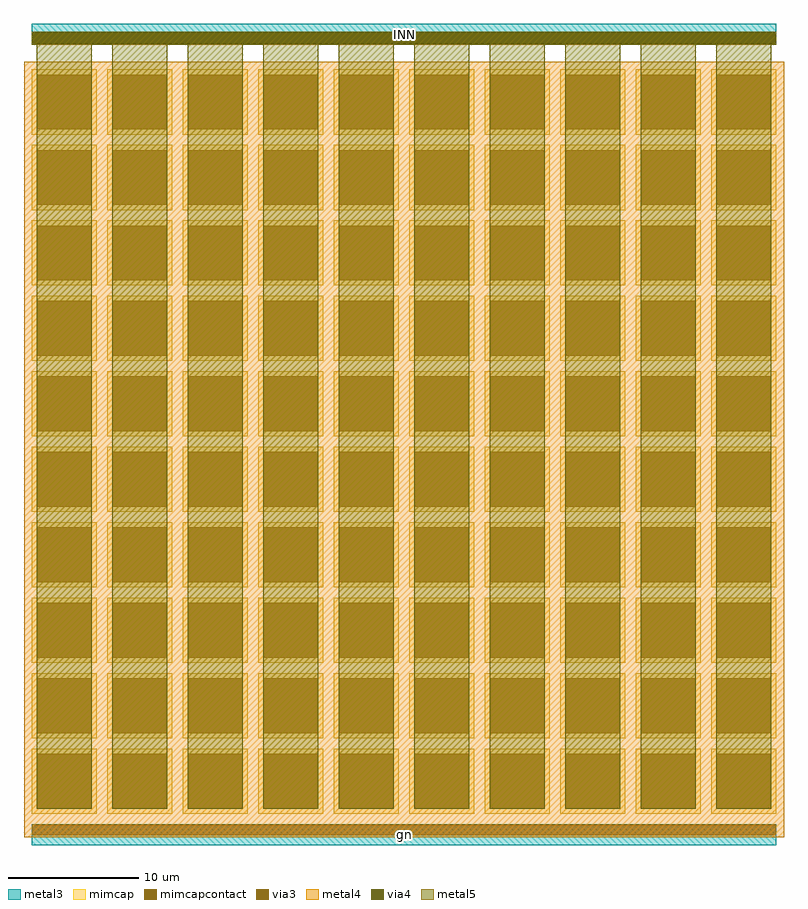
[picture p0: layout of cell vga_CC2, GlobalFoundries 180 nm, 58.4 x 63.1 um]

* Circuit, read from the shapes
.subckt vga_CC2 INN gn
XC1 INN gn cap_mim_2f0fF c_width=5u c_length=5u m=100
.ends

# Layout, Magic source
magic
tech gf180mcuD
magscale 1 10
<< metal3 >>
rect 0 11820 11440 12020
rect 0 11820 11440 12140
rect 0 11820 11440 12140
rect 0 -340 11440 -160
rect 0 -480 11440 -160
rect 0 -480 11440 -160
<< metal4 >>
rect -120 -360 11560 11560
rect 0 11820 11440 12020
rect 0 11820 11440 12020
rect 0 -340 11440 -160
<< mimcap >>
rect 0 0 1000 1000
rect 1160 0 2160 1000
rect 2320 0 3320 1000
rect 3480 0 4480 1000
rect 4640 0 5640 1000
rect 5800 0 6800 1000
rect 6960 0 7960 1000
rect 8120 0 9120 1000
rect 9280 0 10280 1000
rect 10440 0 11440 1000
rect 0 1160 1000 2160
rect 1160 1160 2160 2160
rect 2320 1160 3320 2160
rect 3480 1160 4480 2160
rect 4640 1160 5640 2160
rect 5800 1160 6800 2160
rect 6960 1160 7960 2160
rect 8120 1160 9120 2160
rect 9280 1160 10280 2160
rect 10440 1160 11440 2160
rect 0 2320 1000 3320
rect 1160 2320 2160 3320
rect 2320 2320 3320 3320
rect 3480 2320 4480 3320
rect 4640 2320 5640 3320
rect 5800 2320 6800 3320
rect 6960 2320 7960 3320
rect 8120 2320 9120 3320
rect 9280 2320 10280 3320
rect 10440 2320 11440 3320
rect 0 3480 1000 4480
rect 1160 3480 2160 4480
rect 2320 3480 3320 4480
rect 3480 3480 4480 4480
rect 4640 3480 5640 4480
rect 5800 3480 6800 4480
rect 6960 3480 7960 4480
rect 8120 3480 9120 4480
rect 9280 3480 10280 4480
rect 10440 3480 11440 4480
rect 0 4640 1000 5640
rect 1160 4640 2160 5640
rect 2320 4640 3320 5640
rect 3480 4640 4480 5640
rect 4640 4640 5640 5640
rect 5800 4640 6800 5640
rect 6960 4640 7960 5640
rect 8120 4640 9120 5640
rect 9280 4640 10280 5640
rect 10440 4640 11440 5640
rect 0 5800 1000 6800
rect 1160 5800 2160 6800
rect 2320 5800 3320 6800
rect 3480 5800 4480 6800
rect 4640 5800 5640 6800
rect 5800 5800 6800 6800
rect 6960 5800 7960 6800
rect 8120 5800 9120 6800
rect 9280 5800 10280 6800
rect 10440 5800 11440 6800
rect 0 6960 1000 7960
rect 1160 6960 2160 7960
rect 2320 6960 3320 7960
rect 3480 6960 4480 7960
rect 4640 6960 5640 7960
rect 5800 6960 6800 7960
rect 6960 6960 7960 7960
rect 8120 6960 9120 7960
rect 9280 6960 10280 7960
rect 10440 6960 11440 7960
rect 0 8120 1000 9120
rect 1160 8120 2160 9120
rect 2320 8120 3320 9120
rect 3480 8120 4480 9120
rect 4640 8120 5640 9120
rect 5800 8120 6800 9120
rect 6960 8120 7960 9120
rect 8120 8120 9120 9120
rect 9280 8120 10280 9120
rect 10440 8120 11440 9120
rect 0 9280 1000 10280
rect 1160 9280 2160 10280
rect 2320 9280 3320 10280
rect 3480 9280 4480 10280
rect 4640 9280 5640 10280
rect 5800 9280 6800 10280
rect 6960 9280 7960 10280
rect 8120 9280 9120 10280
rect 9280 9280 10280 10280
rect 10440 9280 11440 10280
rect 0 10440 1000 11440
rect 1160 10440 2160 11440
rect 2320 10440 3320 11440
rect 3480 10440 4480 11440
rect 4640 10440 5640 11440
rect 5800 10440 6800 11440
rect 6960 10440 7960 11440
rect 8120 10440 9120 11440
rect 9280 10440 10280 11440
rect 10440 10440 11440 11440
<< metal5 >>
rect 78 78 922 11920
rect 1238 78 2082 11920
rect 2398 78 3242 11920
rect 3558 78 4402 11920
rect 4718 78 5562 11920
rect 5878 78 6722 11920
rect 7038 78 7882 11920
rect 8198 78 9042 11920
rect 9358 78 10202 11920
rect 10518 78 11362 11920
rect 0 11820 11440 12020
rect 0 11820 11440 12020
<< via3 >>
rect 10 11830 11430 12010
rect 10 -330 11430 -170
<< via4 >>
rect 10 11830 11430 12010
<< mimcapcontact >>
rect 78 78 922 922
rect 1238 78 2082 922
rect 2398 78 3242 922
rect 3558 78 4402 922
rect 4718 78 5562 922
rect 5878 78 6722 922
rect 7038 78 7882 922
rect 8198 78 9042 922
rect 9358 78 10202 922
rect 10518 78 11362 922
rect 78 1238 922 2082
rect 1238 1238 2082 2082
rect 2398 1238 3242 2082
rect 3558 1238 4402 2082
rect 4718 1238 5562 2082
rect 5878 1238 6722 2082
rect 7038 1238 7882 2082
rect 8198 1238 9042 2082
rect 9358 1238 10202 2082
rect 10518 1238 11362 2082
rect 78 2398 922 3242
rect 1238 2398 2082 3242
rect 2398 2398 3242 3242
rect 3558 2398 4402 3242
rect 4718 2398 5562 3242
rect 5878 2398 6722 3242
rect 7038 2398 7882 3242
rect 8198 2398 9042 3242
rect 9358 2398 10202 3242
rect 10518 2398 11362 3242
rect 78 3558 922 4402
rect 1238 3558 2082 4402
rect 2398 3558 3242 4402
rect 3558 3558 4402 4402
rect 4718 3558 5562 4402
rect 5878 3558 6722 4402
rect 7038 3558 7882 4402
rect 8198 3558 9042 4402
rect 9358 3558 10202 4402
rect 10518 3558 11362 4402
rect 78 4718 922 5562
rect 1238 4718 2082 5562
rect 2398 4718 3242 5562
rect 3558 4718 4402 5562
rect 4718 4718 5562 5562
rect 5878 4718 6722 5562
rect 7038 4718 7882 5562
rect 8198 4718 9042 5562
rect 9358 4718 10202 5562
rect 10518 4718 11362 5562
rect 78 5878 922 6722
rect 1238 5878 2082 6722
rect 2398 5878 3242 6722
rect 3558 5878 4402 6722
rect 4718 5878 5562 6722
rect 5878 5878 6722 6722
rect 7038 5878 7882 6722
rect 8198 5878 9042 6722
rect 9358 5878 10202 6722
rect 10518 5878 11362 6722
rect 78 7038 922 7882
rect 1238 7038 2082 7882
rect 2398 7038 3242 7882
rect 3558 7038 4402 7882
rect 4718 7038 5562 7882
rect 5878 7038 6722 7882
rect 7038 7038 7882 7882
rect 8198 7038 9042 7882
rect 9358 7038 10202 7882
rect 10518 7038 11362 7882
rect 78 8198 922 9042
rect 1238 8198 2082 9042
rect 2398 8198 3242 9042
rect 3558 8198 4402 9042
rect 4718 8198 5562 9042
rect 5878 8198 6722 9042
rect 7038 8198 7882 9042
rect 8198 8198 9042 9042
rect 9358 8198 10202 9042
rect 10518 8198 11362 9042
rect 78 9358 922 10202
rect 1238 9358 2082 10202
rect 2398 9358 3242 10202
rect 3558 9358 4402 10202
rect 4718 9358 5562 10202
rect 5878 9358 6722 10202
rect 7038 9358 7882 10202
rect 8198 9358 9042 10202
rect 9358 9358 10202 10202
rect 10518 9358 11362 10202
rect 78 10518 922 11362
rect 1238 10518 2082 11362
rect 2398 10518 3242 11362
rect 3558 10518 4402 11362
rect 4718 10518 5562 11362
rect 5878 10518 6722 11362
rect 7038 10518 7882 11362
rect 8198 10518 9042 11362
rect 9358 10518 10202 11362
rect 10518 10518 11362 11362
<< labels >>
flabel metal3 s 0 11820 11440 12140 0 FreeSans 80 0 0 0 INN
port 1 nsew signal bidirectional
flabel metal3 s 0 -480 11440 -160 0 FreeSans 80 0 0 0 gn
port 2 nsew signal bidirectional
<< end >>
